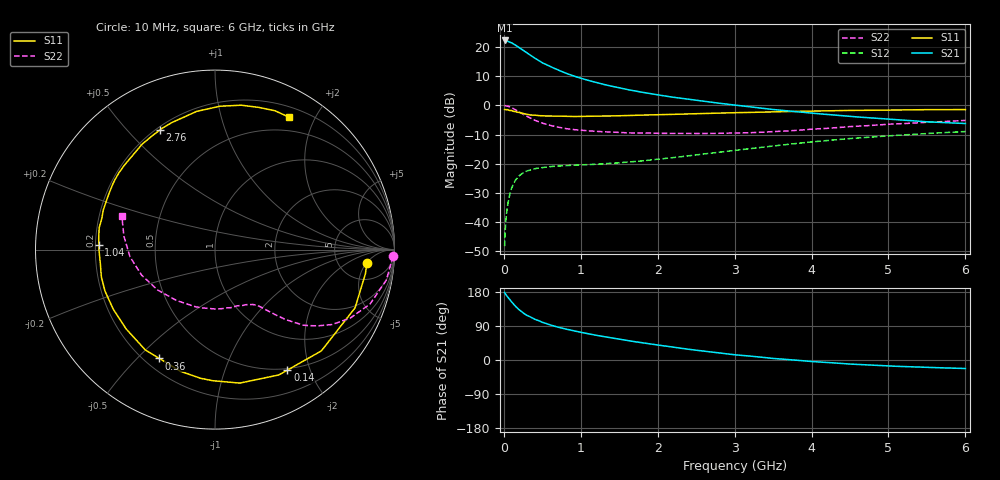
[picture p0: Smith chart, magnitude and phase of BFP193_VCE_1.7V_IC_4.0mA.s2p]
! Infineon Technologies  Discrete & RF Semiconductors
! BFP193
! VCE = 1.7 V,  IC =  4.0 mA
! Common Emitter S-Parameters:  Jan 2016
# GHz  S  MA  R  50
!  f  S11  S21  S12  S22
! GHz  MAG  ANG  MAG  ANG  MAG  ANG  MAG  ANG
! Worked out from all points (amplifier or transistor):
!   210 points, 10 MHz to 6 GHz, reference 50 ohm
!   highest |S21| = 22.2 dB at 10 MHz (marker M1)
!   |S21| within 3 dB of that: start of sweep to 229.3 MHz
!   unconditionally stable (mu >= 1): 1.326 GHz to 3.668 GHz
!   at 185 MHz: K = 0.18, MSG = 22.3 dB, |S12| = -24.6 dB
!   at 1.52 GHz: K = 1.07, MAG = 11.1 dB, |S12| = -19.6 dB
!   at 6 GHz: K = 0.94, MSG = 1.4 dB, |S12| = -9.0 dB
!   S11 on the Smith chart (normalised r, x): 10 MHz: 10, -5; 140 MHz: 0.48, -1.66; 360 MHz: 0.26, -0.58; 1.04 GHz: 0.21, +0.02; 2.76 GHz: 0.21, +0.62; 6 GHz: 0.32, +1.65
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0.01  0.8491 -4.9  12.86 178.2  0.0039 90.7  0.9905 -2.1
0.02  0.8489 -9.1  12.68 174.1  0.0081 85.6  0.9854 -4.0
0.05  0.845 -22.6  12.47 166.1  0.0199 78.8  0.9694 -10.1
0.1  0.8184 -43.6  11.77 153.7  0.038 68.1  0.916 -19.3
0.14  0.7832 -59.0  10.9 144.2  0.0493 60.0  0.8575 -25.3
0.2  0.7564 -79.5  9.728 132.5  0.0623 51.4  0.773 -32.7
0.26  0.7215 -96.4  8.523 123.0  0.071 44.7  0.6937 -37.7
0.3  0.7047 -105.9  7.843 117.7  0.0754 41.5  0.6487 -40.5
0.36  0.6812 -117.1  6.974 112.2  0.0795 37.3  0.5932 -42.8
0.4  0.6807 -124.8  6.438 107.7  0.0825 34.8  0.5568 -44.6
0.5  0.6636 -138.3  5.344 99.5  0.0864 31.3  0.4965 -47.1
0.6  0.6569 -149.7  4.614 92.7  0.0895 29.2  0.4542 -49.0
0.8  0.6512 -166.5  3.567 81.9  0.0931 27.2  0.4007 -52.0
1.02  0.6468 179.0  2.853 72.3  0.0959 27.2  0.3732 -55.2
1.04  0.6475 177.9  2.804 71.5  0.0962 27.4  0.3714 -55.5
1.4  0.6604 160.4  2.119 58.3  0.1016 29.9  0.3494 -62.7
2.02  0.6899 137.0  1.494 39.0  0.1202 36.4  0.3318 -77.7
2.76  0.7342 114.6  1.102 19.6  0.1557 39.7  0.3319 -100.8
3.1  0.7512 106.3  0.976 12.1  0.1762 39.2  0.3376 -112.9
4.1  0.8016 86.3  0.716 -5.2  0.2431 32.6  0.3966 -148.2
5.1  0.8309 71.6  0.568 -16.6  0.3063 21.5  0.4808 -178.0
6  0.845 61.0  0.488 -22.4  0.3563 10.5  0.5521 160.1
